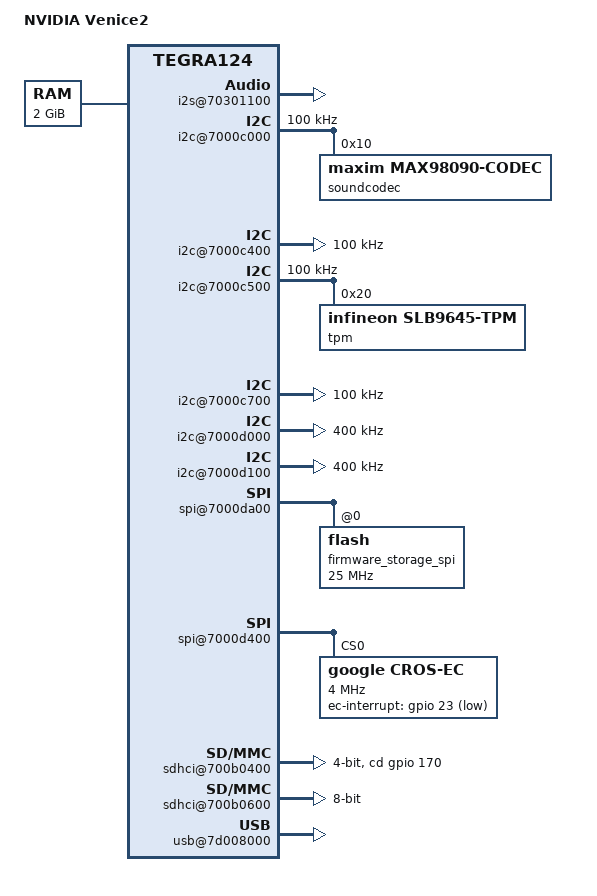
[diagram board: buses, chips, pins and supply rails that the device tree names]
/dts-v1/;

/include/ "tegra124.dtsi"
/include/ "flashmap-tegra-ro.dtsi"
/include/ "flashmap-tegra-4mb-rw.dtsi"
/include/ "chromeos-tegra.dtsi"
/include/ "crostegra-common.dtsi"

/ {
	model = "NVIDIA Venice2";
	compatible = "nvidia,venice2", "nvidia,tegra124";

	config {
		hwid = "NVIDIA Venice2";
	};

	aliases {
		i2c0 = "/i2c@7000d000";
		i2c1 = "/i2c@7000c000";
		i2c2 = "/i2c@7000c400";
		i2c3 = "/i2c@7000c500";
		i2c4 = "/i2c@7000c700";
		i2c5 = "/i2c@7000d100";
		sdhci0 = "/sdhci@700b0600";
		sdhci1 = "/sdhci@700b0400";
		usb0 = "/usb@7d008000";
	};

	memory {
		device_type = "memory";
		reg = <0x80000000 0x80000000>;
	};

	ahub {
		i2s@70301100 {
			status = "okay";
		};
	};

	i2c@7000c000 {
		status = "okay";
		clock-frequency = <100000>;
		soundcodec@10 {
			reg = <0x10>;
			compatible = "maxim,max98090-codec";
		};
	};

	i2c@7000c400 {
		status = "okay";
		clock-frequency = <100000>;
	};

	i2c@7000c500 {
		status = "okay";
		clock-frequency = <100000>;
		nvidia,no-repeat-start;
		tpm@20 {
			compatible = "infineon,slb9645-tpm";
			reg = <0x20>;
		};
	};

	i2c@7000c700 {
		status = "okay";
		clock-frequency = <100000>;
	};

	i2c@7000d000 {
		status = "okay";
		clock-frequency = <400000>;
	};

	i2c@7000d100 {
		status = "okay";
		clock-frequency = <400000>;
	};

	spi@7000da00 {
		status = "okay";
		spi-max-frequency = <25000000>;
		nvidia,cs-pinmux = <122>;	/* GPIO_PI3 */
		firmware_storage_spi: flash@0 {
			spi-max-frequency = <25000000>;
		};
	};

	spi@7000d400 {
		status = "okay";
		spi-max-frequency = <25000000>;
		spi-deactivate-delay = <100>;
		nvidia,cs-pinmux = <11>;	/* ULPI_STP */
		cros-ec {
			compatible = "google,cros-ec";
			spi-half-duplex;
			spi-frame-header = <0xec>;
			spi-max-frequency = <4000000>;
			spi-max-timeout-ms = <100>;
			ec-interrupt = <&gpio 23 1>; /* PC7, KBC_IRQ_L */
			reg = <0>;
		};
	};

	sdhci@700b0400 {
		cd-gpios = <&gpio 170 0>; /* gpio PV2 */
		power-gpios = <&gpio 136 0>; /* gpio PR0 */
		bus-width = <4>;
		status = "okay";
		nvidia,removable = <1>;
	};

	sdhci@700b0600 {
		bus-width = <8>;
		status = "okay";
		nvidia,removable = <0>;
	};

	usb@7d008000 {
		/* USB2 */
		nvidia,vbus-gpio = <&gpio 109 0>; /* gpio PN5, USB_VBUS_EN1 */
		status = "okay";
	};

	chromeos-config {
		virtual-dev-switch;

		/* disable memory clear */
		disable-memory-clear;

		vboot-flag-write-protect {
			compatible = "google,gpio-flag";
			gpio = <&gpio 137 1>; /* KB_ROW1/PR1 */
		};

		vboot-flag-recovery {
			compatible = "google,gpio-flag";
			gpio = <&gpio 135 1>; /* KB_COL7/PQ7 */
		};

		vboot-flag-developer {
			compatible = "google,gpio-flag";
			gpio = <&gpio 134 0>; /* KB_COL6/PQ6 */
		};

		vboot-flag-ec-in-rw {
			compatible = "google,gpio-flag";
			gpio = <&gpio 164 0>; /* GPIO_PU4 */
		};

		vboot-flag-lid-open {
			compatible = "google,gpio-flag";
			gpio = <&gpio 140 0>; /* KB_ROW4/PR4 */
		};

		vboot-flag-power-off {
			compatible = "google,gpio-flag";
			gpio = <&gpio 128 1>; /* KB_COL0/PQ0 */
		};

		/* option rom */
		vboot-flag-oprom-loaded {
			compatible = "google,const-flag";
			value = <0>;
		};
	};

	sound@70301100 {
		nvidia,i2s-pll-clock-frequency = <4800000>;
		nvidia,i2s-sampling-rate = <48000>;
		nvidia,i2s-bits-per-sample = <16>;
		nvidia,i2s-channels = <2>;
		nvidia,i2s-lr-clk-framesize = <256>;
		nvidia,i2s-bit-clk-framesize = <32>;
		nvidia,codec-type = "max98090";
		nvidia,i2s-controller = <&tegra_i2s1>;
		status = "okay";
	};
};
